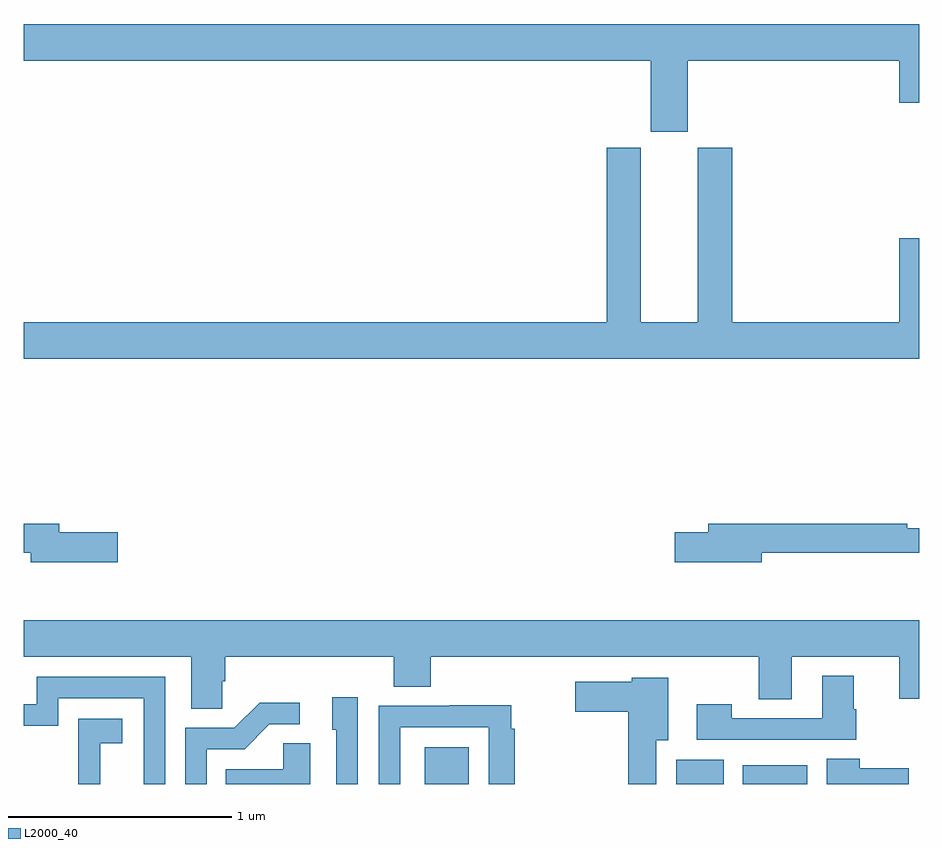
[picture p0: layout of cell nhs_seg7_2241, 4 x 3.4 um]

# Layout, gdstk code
import gdstk
lib = gdstk.Library(unit=1e-6, precision=1e-09)
def R(c, l, rs):  # rectangles x0, y0, x1, y1
    for r in rs: c.add(gdstk.rectangle(r[:2], r[2:], *l))
def P(c, l, *ps):  # polygons
    for p in ps: c.add(gdstk.Polygon(p, *l))
L2000_40 = (2000, 40)

nhs_seg7_2241 = lib.new_cell('nhs_seg7_2241')
R(nhs_seg7_2241, L2000_40, [(258.791,1048,258.988,1048.165), (259.916,1048,260.128,1048.108), (260.213,1048,260.5,1048.084)])
P(nhs_seg7_2241, L2000_40, [(259.966,1051.232),(260.912,1051.232),(260.912,1051.044),(261,1051.044),(261,1051.396),(257,1051.396),(257,1051.232),(259.802,1051.232),(259.802,1050.915),(259.966,1050.915)],
  [(261,1050.439),(260.912,1050.439),(260.912,1050.064),(260.165,1050.064),(260.165,1050.843),(260.012,1050.843),(260.012,1050.064),(259.756,1050.064),(259.756,1050.843),(259.604,1050.843),(259.604,1050.064),(257,1050.064),(257,1049.9),(261,1049.9)],
  [(257.419,1049.126),(257.158,1049.126),(257.158,1049.162),(257,1049.162),(257,1049.034),(257.03,1049.034),(257.03,1048.991),(257.419,1048.991)],
  [(260.296,1049.034),(261,1049.034),(261,1049.142),(260.948,1049.142),(260.948,1049.162),(260.057,1049.162),(260.057,1049.126),(259.908,1049.126),(259.908,1048.991),(260.296,1048.991)],
  [(257.886,1048.459),(257.9,1048.459),(257.9,1048.568),(258.653,1048.568),(258.653,1048.435),(258.818,1048.435),(258.818,1048.568),(260.284,1048.568),(260.284,1048.378),(260.431,1048.378),(260.431,1048.568),(260.912,1048.568),(260.912,1048.38),(261,1048.38),(261,1048.732),(257,1048.732),(257,1048.568),(257.747,1048.568),(257.747,1048.336),(257.886,1048.336)],
  [(260.72,1048.335),(260.707,1048.335),(260.707,1048.483),(260.567,1048.483),(260.567,1048.293),(260.163,1048.293),(260.163,1048.357),(260.007,1048.357),(260.007,1048.197),(260.72,1048.197)],
  [(257.631,1048.479),(257.057,1048.479),(257.057,1048.356),(257,1048.356),(257,1048.26),(257.154,1048.26),(257.154,1048.383),(257.535,1048.383),(257.535,1048),(257.631,1048)],
  [(259.825,1048.196),(259.879,1048.196),(259.879,1048.474),(259.716,1048.474),(259.716,1048.456),(259.464,1048.456),(259.464,1048.322),(259.7,1048.322),(259.7,1048),(259.825,1048)],
  [(258.492,1048.387),(258.377,1048.387),(258.377,1048.242),(258.396,1048.242),(258.396,1048),(258.492,1048)],
  [(257.817,1048.155),(257.986,1048.155),(258.097,1048.266),(258.232,1048.266),(258.232,1048.364),(258.053,1048.364),(257.94,1048.251),(257.721,1048.251),(257.721,1048),(257.817,1048)],
  [(258.681,1048.254),(259.077,1048.254),(259.077,1048),(259.193,1048),(259.193,1048.247),(259.178,1048.247),(259.178,1048.352),(258.901,1048.352),(258.901,1048.35),(258.585,1048.35),(258.585,1048),(258.681,1048)],
  [(257.342,1048.181),(257.44,1048.181),(257.44,1048.291),(257.242,1048.291),(257.242,1048.085),(257.243,1048.085),(257.243,1048),(257.342,1048)],
  [(258.28,1048.181),(258.159,1048.181),(258.159,1048.066),(257.902,1048.066),(257.902,1048),(258.28,1048)],
  [(260.953,1048.071),(260.735,1048.071),(260.735,1048.112),(260.588,1048.112),(260.588,1048),(260.953,1048)])

lib.write_gds('nhs_seg7_2241.gds')
